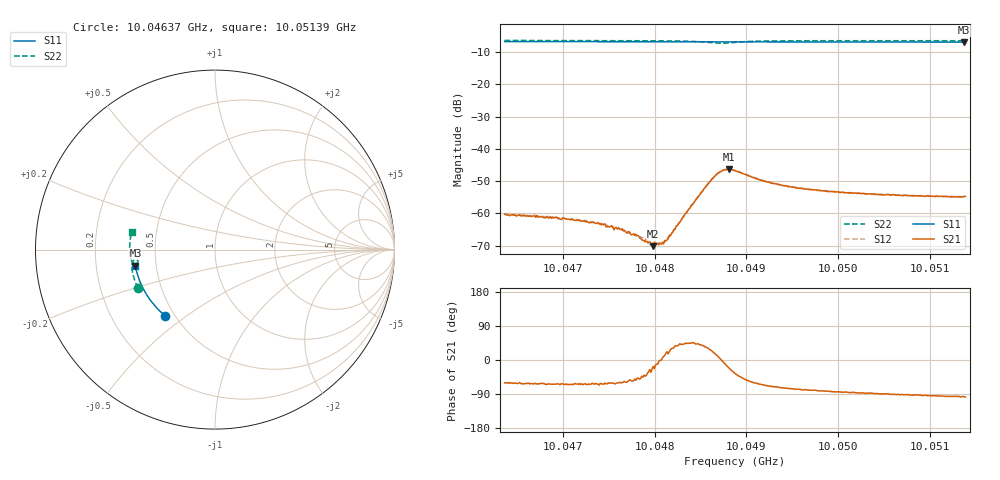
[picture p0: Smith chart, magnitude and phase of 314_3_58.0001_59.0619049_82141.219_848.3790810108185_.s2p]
#  HZ  S  RI  R  50.00
! Rohde & Schwarz Vector Network Analyzer
! Rohde-Schwarz,ZNB20-2Port,1311601062101988,3.16
! Created: UTC 3/21/2024, 1:04:20 AM
! freq[Hz]  re:S11  im:S11  re:S21  im:S21  re:S12  im:S12  re:S22  im:S22
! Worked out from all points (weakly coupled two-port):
!   401 points, 10.04637 GHz to 10.05139 GHz, reference 50 ohm
!   highest |S21| = -46.39 dB at 10.04881 GHz (marker M1); lowest = -70.2 dB at 10.04799 GHz (marker M2)
!   lowest |S11| = -6.9 dB at 10.05138 GHz (marker M3), VSWR 2.65, Z = 19 - j4.31 ohm
!   |S11| at or under -10 dB: nowhere
!   |S22| runs from -7.3 to -6.4 dB; largest |S21 - S12| = 0.00032
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1.0046365e10  -0.2785 -0.3678  0.000479 -0.000834  0.000549 -0.000827  -0.4295 -0.2141
1.0046918e10  -0.3061 -0.3434  0.000385 -0.000776  0.000425 -0.000756  -0.4439 -0.1796
1.0047207e10  -0.3196 -0.33  0.000351 -0.000681  0.000379 -0.000675  -0.4503 -0.161
1.0047408e10  -0.3287 -0.3204  0.000326 -0.000603  0.000346 -0.000599  -0.4543 -0.1478
1.0047634e10  -0.3385 -0.3092  0.000272 -0.000486  0.000309 -0.000464  -0.4584 -0.132
1.0047797e10  -0.3455 -0.3009  0.000279 -0.000378  0.000298 -0.000329  -0.4607 -0.1204
1.0047873e10  -0.3488 -0.2971  0.000268 -0.00027  0.00033 -0.000259  -0.4617 -0.115
1.0047986e10  -0.3533 -0.2911  0.000296 -8.95e-05  0.000303 -9.83e-05  -0.4629 -0.1065
1.0048048e10  -0.3558 -0.288  0.000326 -1.64e-05  0.000324 -8.73e-06  -0.4632 -0.1015
1.0048086e10  -0.3573 -0.2859  0.000347 3.33e-05  0.000356 4.37e-05  -0.4635 -0.0984
1.0048124e10  -0.3589 -0.2839  0.000355 0.000113  0.000388 0.00013  -0.4635 -0.0955
1.0048187e10  -0.3612 -0.2807  0.000422 0.000246  0.000409 0.000244  -0.4636 -0.0901
1.0048488e10  -0.3725 -0.2643  0.00144 0.00123  0.00139 0.00137  -0.4553 -0.0624
1.0048651e10  -0.3782 -0.2551  0.00349 0.00114  0.00345 0.00141  -0.4369 -0.0557
1.0048739e10  -0.3812 -0.2503  0.00455 -0.000236  0.00463 4.82e-05  -0.4293 -0.065
1.0048815e10  -0.3837 -0.2464  0.00445 -0.00179  0.00456 -0.00153  -0.4331 -0.075
1.0048877e10  -0.3859 -0.243  0.00371 -0.00266  0.00394 -0.00244  -0.4414 -0.0782
1.0049279e10  -0.399 -0.2199  0.00102 -0.00274  0.0012 -0.00273  -0.4698 -0.0493
1.0049719e10  -0.4116 -0.1938  0.000407 -0.00229  0.000526 -0.00226  -0.4752 -0.015
1.005056e10  -0.4307 -0.142  -1.22e-05 -0.00196  0.000132 -0.00194  -0.4736 0.0434
1.0051377e10  -0.4433 -0.0901  -0.000224 -0.00182  -0.000105 -0.00178  -0.4652 0.0975
1.0051389e10  -0.4436 -0.0893  -0.000241 -0.0018  -9.82e-05 -0.00178  -0.465 0.0982
